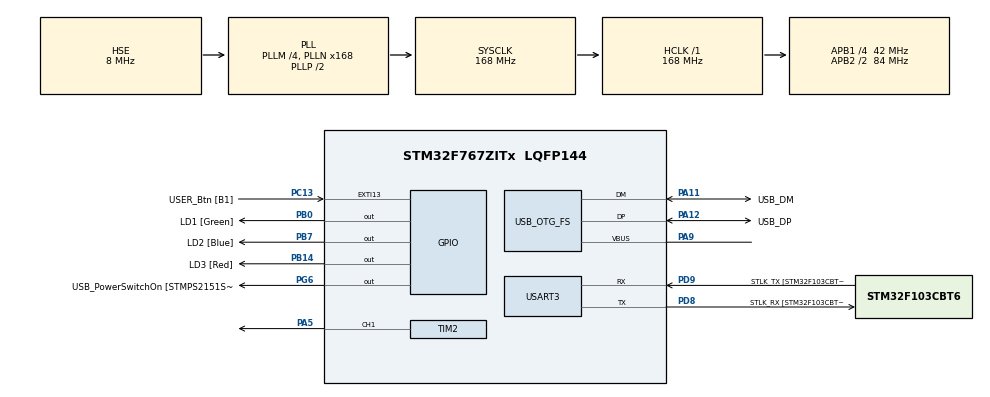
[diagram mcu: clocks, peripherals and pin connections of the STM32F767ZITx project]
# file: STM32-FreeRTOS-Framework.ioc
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Mcu.Family=STM32F7
NVIC.USART3_IRQn=true\:5\:0\:false\:false\:true\:true\:true\:true
RCC.CortexFreq_Value=168000000
PG6.PinState=GPIO_PIN_RESET
PG6.Signal=GPIO_Output
PB14.GPIO_Label=LD3 [Red]
PG6.GPIO_Label=USB_PowerSwitchOn [STMPS2151STR_EN]
PA14.GPIO_Label=TCK
RCC.SYSCLKSourceVirtual=RCC_SYSCLKSOURCE_PLLCLK
VP_RTC_VS_RTC_Activate.Mode=RTC_Enabled
RTC.WeekDay=RTC_WEEKDAY_SATURDAY
PA11.Mode=Host_Only
PB0.GPIO_Label=LD1 [Green]
PC13.GPIO_Label=USER_Btn [B1]
PD9.Mode=Asynchronous
RCC.SYSCLKSource=RCC_SYSCLKSOURCE_PLLCLK
ProjectManager.StackSize=0x800
VP_FREERTOS_VS_CMSIS_V2.Mode=CMSIS_V2
USART3.VirtualMode-Asynchronous=VM_ASYNC
PA12.Signal=USB_OTG_FS_DP
NVIC.TIM5_IRQn=true\:5\:0\:false\:false\:true\:true\:true\:true
PH0/OSC_IN.Mode=HSE-External-Oscillator
RCC.HCLKFreq_Value=168000000
RCC.APB2TimFreq_Value=168000000
PH1/OSC_OUT.Signal=RCC_OSC_OUT
TIM5.TIM_MasterSlaveMode=TIM_MASTERSLAVEMODE_DISABLE
PD8.Signal=USART3_TX
USB_HOST0.BSP.ip=GPIO
FREERTOS.configMINIMAL_STACK_SIZE=256
RCC.AHBFreq_Value=168000000
RCC.HSE_VALUE=8000000
NVIC.TIM8_TRG_COM_TIM14_IRQn=true\:5\:0\:false\:false\:true\:true\:true\:true
USB_OTG_FS.phy_itface=HCD_PHY_EMBEDDED
TIM14.Period=2000 - 1
RCC.PLLMUL=RCC_PLL_MUL9
RTC.Month=RTC_MONTH_MAY
PA14.Mode=Serial_Wire
VP_SYS_VS_tim1.Mode=TIM1
Dma.USART3_TX.0.FIFOMode=DMA_FIFOMODE_DISABLE
PB7.Signal=GPIO_Output
USB_HOST.USBH_PROCESS_STACK_SIZE-MSC_FS=0x800
TIM2.Channel-PWM\ Generation1\ CH1=TIM_CHANNEL_1
Dma.USART3_TX.0.Mode=DMA_NORMAL
PH1/OSC_OUT.Mode=HSE-External-Oscillator
Dma.USART3_TX.0.PeriphInc=DMA_PINC_DISABLE
Dma.USART3_TX.0.MemDataAlignment=DMA_MDATAALIGN_BYTE
PG6.GPIO_ModeDefaultOutputPP=GPIO_MODE_OUTPUT_PP
PB7.GPIO_Label=LD2 [Blue]
USB_HOST0.BSP.i2caddr=0
Mcu.Package=LQFP144
TIM2.Prescaler=2687
NVIC.TimeBase=TIM1_UP_TIM10_IRQn
PC14/OSC32_IN.Signal=RCC_OSC32_IN
NVIC.OTG_FS_IRQn=true\:5\:0\:false\:false\:true\:true\:true\:true
NVIC.TimeBaseIP=TIM1
PA10.Signal=USB_OTG_FS_ID
VP_RTC_VS_RTC_Calendar.Mode=RTC_Calendar
USB_OTG_FS.VirtualMode=Host_Only
TIM2.TIM_MasterOutputTrigger=TIM_TRGO_UPDATE
USB_HOST0.BSP.name=Drive_VBUS_FS
Dma.USART3_TX.0.PeriphDataAlignment=DMA_PDATAALIGN_BYTE
RCC.APB2CLKDivider=RCC_HCLK_DIV2
RCC.APB1TimFreq_Value=84000000
VP_TIM14_VS_ClockSourceINT.Mode=Enable_Timer
Dma.Request0=USART3_TX
VP_TIM5_VS_ClockSourceITR.Mode=TriggerSource_ITR0
PB3.GPIO_Label=SWO
Dma.USART3_TX.0.Instance=DMA1_Stream3
FREERTOS.Tasks01=defaultTask,24,256,StartDefaultTask,Default,NULL,Dynamic,NULL,NULL
PD9.GPIO_Label=STLK_TX [STM32F103CBT6_PA2]
Dma.USART3_TX.0.MemInc=DMA_MINC_ENABLE
PC13.Signal=GPXTI13
VP_USB_HOST_VS_USB_HOST_MSC_FS.Mode=MSC_FS
USB_HOST0.BSP.solution=PG6
USB_HOST.BSP.number=1
PA11.GPIO_Label=USB_DM
PD9.Signal=USART3_RX
RCC.APB1CLKDivider=RCC_HCLK_DIV4
Dma.USART3_TX.0.Direction=DMA_MEMORY_TO_PERIPH
USB_HOST.USBH_HandleTypeDef-MSC_FS=hUsbHostFS
PA12.GPIO_Label=USB_DP
TIM5.AutoReloadPreload=TIM_AUTORELOAD_PRELOAD_ENABLE
TIM2.Pulse-PWM\ Generation1\ CH1=15624
PD8.GPIO_Label=STLK_RX [STM32F103CBT6_PA3]
USB_HOST0.BSP.STBoard=false
PA13.Signal=SYS_JTMS-SWDIO
TIM5.TIM_MasterOutputTrigger=TIM_TRGO_RESET
PA9.Mode=Activate_VBUS
ProjectManager.TargetToolchain=STM32CubeIDE
PA9.Signal=USB_OTG_FS_VBUS
RCC.USBFreq_Value=48000000
RCC.LSE_VALUE=32768
PD8.Mode=Asynchronous
PB14.Signal=GPIO_Output
PA5.Signal=S_TIM2_CH1_ETR
board=NUCLEO-F767ZI
RCC.VCOOutputFreq_Value=336000000
USB_HOST.VirtualModeFS=Msc
PH0/OSC_IN.Signal=RCC_OSC_IN
RCC.APB2Freq_Value=84000000
USB_HOST0.BSP.api=Unknown
RCC.PRESCALERUSB=RCC_USBCLKSOURCE_PLL_DIV1_5
VP_TIM2_VS_ClockSourceINT.Mode=Internal
TIM2.Period=31249
Dma.USART3_TX.0.Priority=DMA_PRIORITY_LOW
PA13.Mode=Serial_Wire
Mcu.Name=STM32F767ZITx
TIM14.Prescaler=9600 - 1
PA13.GPIO_Label=TMS
RCC.48MHZClocksFreq_Value=24000000
PB3.Signal=SYS_JTDO-SWO
RCC.SYSCLKFreq_VALUE=168000000
PA12.Mode=Host_Only
TIM5.Prescaler=0
VP_TIM5_VS_ControllerModeClock.Mode=Clock Mode
PA11.Signal=USB_OTG_FS_DM
SH.S_TIM2_CH1_ETR.0=TIM2_CH1,PWM Generation1 CH1
PA14.Signal=SYS_JTCK-SWCLK
ProjectManager.HeapSize=0x400
VP_FATFS_VS_USB.Mode=USB
NVIC.TIM1_UP_TIM10_IRQn=true\:0\:0\:false\:false\:true\:false\:false\:true
RCC.HSI_VALUE=16000000
PH0/OSC_IN.GPIO_Label=MCO [STM32F103CBT6_PA8]
RCC.PLLQ=7
NVIC.PriorityGroup=NVIC_PRIORITYGROUP_4
RCC.PLLM=4
RCC.PLLN=168
TIM2.TIM_MasterSlaveMode=TIM_MASTERSLAVEMODE_ENABLE
TIM2.AutoReloadPreload=TIM_AUTORELOAD_PRELOAD_ENABLE
NVIC.DMA1_Stream3_IRQn=true\:5\:0\:false\:false\:true\:true\:false\:true
TIM5.Period=4294967295
PC15/OSC32_OUT.Signal=RCC_OSC32_OUT
RCC.APB1Freq_Value=42000000
PB0.Signal=GPIO_Output
USB_HOST0.BSP.mode=Output
USB_HOST0.BSP.instance=PG6

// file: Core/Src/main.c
/* USER CODE BEGIN Header */
/**
  ******************************************************************************
  * @file           : main.c
  * @brief          : Main program body
  ******************************************************************************
  * @attention
  *
  * <h2><center>&copy; Copyright (c) 2021 STMicroelectronics.
  * All rights reserved.</center></h2>
  *
  * This software component is licensed by ST under BSD 3-Clause license,
  * the "License"; You may not use this file except in compliance with the
  * License. You may obtain a copy of the License at:
  *                        opensource.org/licenses/BSD-3-Clause
  *
  ******************************************************************************
  */
/* USER CODE END Header */
#include "main.h"
#include "cmsis_os.h"
#include "fatfs.h"
#include "usb_host.h"

/* USER CODE BEGIN Includes */

#include "UserInc/Logging.h"
#include "UserInc/Features.h"

#include "UserInc/Tasks/TaskConsole.h"
#include "UserInc/Tasks/TaskUSB.h"
#include "UserInc/Tasks/Task1.h"
#include "UserInc/Tasks/Task2.h"
#include "UserInc/Tasks/Task3.h"

#if ( ENABLE_ADC == 1 )
#include "UserInc/Tasks/TaskADC.h"
#endif

#if ( ENABLE_PWM == 1 )
#include "UserInc/Tasks/TaskPWM.h"
#endif

/* USER CODE END Includes */

RTC_HandleTypeDef hrtc;

TIM_HandleTypeDef htim2;
TIM_HandleTypeDef htim5;
TIM_HandleTypeDef htim14;

UART_HandleTypeDef huart3;
DMA_HandleTypeDef hdma_usart3_tx;

/* Definitions for defaultTask */
osThreadId_t defaultTaskHandle;
const osThreadAttr_t defaultTask_attributes = {
  .name = "defaultTask",
  .stack_size = 256 * 4,
  .priority = (osPriority_t) osPriorityNormal,
};
/* USER CODE BEGIN PV */

osThreadId_t taskConsoleHandle;
const osThreadAttr_t taskConsole_attributes = {
  .name = "taskConsole",
  .stack_size = configMINIMAL_STACK_SIZE * 4,
  .priority = (osPriority_t) osPriorityNormal,
};

#if ( ENABLE_USB == 1 )
osThreadId_t taskUSBHandle;
const osThreadAttr_t taskUSB_attributes = {
  .name = "taskUSB",
  .stack_size = configMINIMAL_STACK_SIZE * 4,
  .priority = (osPriority_t) osPriorityNormal,
};
#endif

osThreadId_t task1Handle;
const osThreadAttr_t task1_attributes = {
  .name = "task1",
  .stack_size = configMINIMAL_STACK_SIZE * 4,
  .priority = (osPriority_t) osPriorityNormal,
};

osThreadId_t task3Handle;
const osThreadAttr_t task3_attributes = {
  .name = "task3",
  .stack_size = configMINIMAL_STACK_SIZE * 4,
  .priority = (osPriority_t) osPriorityNormal,
};

#if ( ENABLE_ADC == 1 )
osThreadId_t taskADCHandle;
const osThreadAttr_t taskADC_attributes = {
  .name = "taskADC",
  .stack_size = configTIMER_TASK_STACK_DEPTH * 4,
  .priority = (osPriority_t) osPriorityNormal,
};
#endif

#if ( ENABLE_PWM == 1 )
osThreadId_t taskPWMHandle;
const osThreadAttr_t taskPWM_attributes = {
  .name = "taskPWM",
  .stack_size = configTIMER_TASK_STACK_DEPTH * 4,
  .priority = (osPriority_t) osPriorityNormal,
};
#endif

/* USER CODE END PV */

void SystemClock_Config(void);
static void MX_GPIO_Init(void);
static void MX_DMA_Init(void);
static void MX_USART3_UART_Init(void);
static void MX_TIM14_Init(void);
static void MX_RTC_Init(void);
static void MX_TIM5_Init(void);
static void MX_TIM2_Init(void);
void StartDefaultTask(void *argument);

int main(void)
{

  /* MCU Configuration--------------------------------------------------------*/

  /* Reset of all peripherals, Initializes the Flash interface and the Systick. */
  HAL_Init();

  /* Configure the system clock */
  SystemClock_Config();

  /* Initialize all configured peripherals */
  MX_GPIO_Init();
  MX_DMA_Init();
  MX_USART3_UART_Init();
  MX_TIM14_Init();
  MX_RTC_Init();
  MX_FATFS_Init();
  MX_TIM5_Init();
  MX_TIM2_Init();
  /* USER CODE BEGIN 2 */

  HAL_TIM_Base_Start_IT(&htim14);
  HAL_TIM_Base_Start(&htim5);
#ifdef PWM_LOG_TIM2
  HAL_TIM_PWM_Start_IT(&htim2, TIM_CHANNEL_1);
#else
  HAL_TIM_PWM_Start(&htim2, TIM_CHANNEL_1);
#endif

  /* USER CODE END 2 */

  /* Init scheduler */
  osKernelInitialize();

  /* USER CODE BEGIN RTOS_SEMAPHORES */
  TaskConsole_PrepareRTOS();
  TaskUSB_PrepareRTOS();
  /* USER CODE END RTOS_SEMAPHORES */

  /* Create the thread(s) */
  /* creation of defaultTask */
  defaultTaskHandle = osThreadNew(StartDefaultTask, NULL, &defaultTask_attributes);

  /* USER CODE BEGIN RTOS_THREADS */
  taskConsoleHandle	= osThreadNew(TaskConsole_Run,	NULL, &taskConsole_attributes);
#if ( ENABLE_USB == 1 )
  taskUSBHandle		= osThreadNew(TaskUSB_Run,		NULL, &taskUSB_attributes);
#endif
  task1Handle		= osThreadNew(Task1_Run,		NULL, &task1_attributes);
  task3Handle		= osThreadNew(Task3_Run,		NULL, &task3_attributes);
#if ( ENABLE_ADC == 1 )
  taskADCHandle		= osThreadNew(TaskADC_Run,		NULL, &taskADC_attributes);
#endif
#if ( ENABLE_PWM == 1 )
  taskPWMHandle		= osThreadNew(TaskPWM_Run,		NULL, &taskPWM_attributes);
#endif

  /* USER CODE END RTOS_THREADS */

  /* Start scheduler */
  osKernelStart();

  /* We should never get here as control is now taken by the scheduler */
  /* Infinite loop */
  while (1)
  {

    /* USER CODE BEGIN 3 */
	HAL_Delay(1000);
  }
  /* USER CODE END 3 */
}

void SystemClock_Config(void)
{
  RCC_OscInitTypeDef RCC_OscInitStruct = {0};
  RCC_ClkInitTypeDef RCC_ClkInitStruct = {0};
  RCC_PeriphCLKInitTypeDef PeriphClkInitStruct = {0};

  /** Configure the main internal regulator output voltage
  */
  __HAL_RCC_PWR_CLK_ENABLE();
  __HAL_PWR_VOLTAGESCALING_CONFIG(PWR_REGULATOR_VOLTAGE_SCALE2);
  /** Initializes the RCC Oscillators according to the specified parameters
  * in the RCC_OscInitTypeDef structure.
  */
  RCC_OscInitStruct.OscillatorType = RCC_OSCILLATORTYPE_LSI|RCC_OSCILLATORTYPE_HSE;
  RCC_OscInitStruct.HSEState = RCC_HSE_ON;
  RCC_OscInitStruct.LSIState = RCC_LSI_ON;
  RCC_OscInitStruct.PLL.PLLState = RCC_PLL_ON;
  RCC_OscInitStruct.PLL.PLLSource = RCC_PLLSOURCE_HSE;
  RCC_OscInitStruct.PLL.PLLM = 4;
  RCC_OscInitStruct.PLL.PLLN = 168;
  RCC_OscInitStruct.PLL.PLLP = RCC_PLLP_DIV2;
  RCC_OscInitStruct.PLL.PLLQ = 7;
  if (HAL_RCC_OscConfig(&RCC_OscInitStruct) != HAL_OK)
  {
    Error_Handler();
  }
  /** Initializes the CPU, AHB and APB buses clocks
  */
  RCC_ClkInitStruct.ClockType = RCC_CLOCKTYPE_HCLK|RCC_CLOCKTYPE_SYSCLK
                              |RCC_CLOCKTYPE_PCLK1|RCC_CLOCKTYPE_PCLK2;
  RCC_ClkInitStruct.SYSCLKSource = RCC_SYSCLKSOURCE_PLLCLK;
  RCC_ClkInitStruct.AHBCLKDivider = RCC_SYSCLK_DIV1;
  RCC_ClkInitStruct.APB1CLKDivider = RCC_HCLK_DIV4;
  RCC_ClkInitStruct.APB2CLKDivider = RCC_HCLK_DIV2;

  if (HAL_RCC_ClockConfig(&RCC_ClkInitStruct, FLASH_LATENCY_5) != HAL_OK)
  {
    Error_Handler();
  }
  PeriphClkInitStruct.PeriphClockSelection = RCC_PERIPHCLK_RTC|RCC_PERIPHCLK_USART3
                              |RCC_PERIPHCLK_CLK48;
  PeriphClkInitStruct.RTCClockSelection = RCC_RTCCLKSOURCE_LSI;
  PeriphClkInitStruct.Usart3ClockSelection = RCC_USART3CLKSOURCE_PCLK1;
  PeriphClkInitStruct.Clk48ClockSelection = RCC_CLK48SOURCE_PLL;
  if (HAL_RCCEx_PeriphCLKConfig(&PeriphClkInitStruct) != HAL_OK)
  {
    Error_Handler();
  }
}

static void MX_RTC_Init(void)
{

  RTC_TimeTypeDef sTime = {0};
  RTC_DateTypeDef sDate = {0};

  /** Initialize RTC Only
  */
  hrtc.Instance = RTC;
  hrtc.Init.HourFormat = RTC_HOURFORMAT_24;
  hrtc.Init.AsynchPrediv = 127;
  hrtc.Init.SynchPrediv = 255;
  hrtc.Init.OutPut = RTC_OUTPUT_DISABLE;
  hrtc.Init.OutPutPolarity = RTC_OUTPUT_POLARITY_HIGH;
  hrtc.Init.OutPutType = RTC_OUTPUT_TYPE_OPENDRAIN;
  if (HAL_RTC_Init(&hrtc) != HAL_OK)
  {
    Error_Handler();
  }

  /** Initialize RTC and set the Time and Date
  */
  sTime.Hours = 0x0;
  sTime.Minutes = 0x0;
  sTime.Seconds = 0x0;
  sTime.DayLightSaving = RTC_DAYLIGHTSAVING_NONE;
  sTime.StoreOperation = RTC_STOREOPERATION_RESET;
  if (HAL_RTC_SetTime(&hrtc, &sTime, RTC_FORMAT_BCD) != HAL_OK)
  {
    Error_Handler();
  }
  sDate.WeekDay = RTC_WEEKDAY_SATURDAY;
  sDate.Month = RTC_MONTH_MAY;
  sDate.Date = 0x1;
  sDate.Year = 0x0;

  if (HAL_RTC_SetDate(&hrtc, &sDate, RTC_FORMAT_BCD) != HAL_OK)
  {
    Error_Handler();
  }

}

static void MX_TIM2_Init(void)
{

  TIM_ClockConfigTypeDef sClockSourceConfig = {0};
  TIM_MasterConfigTypeDef sMasterConfig = {0};
  TIM_OC_InitTypeDef sConfigOC = {0};

  htim2.Instance = TIM2;
  htim2.Init.Prescaler = 2687;
  htim2.Init.CounterMode = TIM_COUNTERMODE_UP;
  htim2.Init.Period = 31249;
  htim2.Init.ClockDivision = TIM_CLOCKDIVISION_DIV1;
  htim2.Init.AutoReloadPreload = TIM_AUTORELOAD_PRELOAD_ENABLE;
  if (HAL_TIM_Base_Init(&htim2) != HAL_OK)
  {
    Error_Handler();
  }
  sClockSourceConfig.ClockSource = TIM_CLOCKSOURCE_INTERNAL;
  if (HAL_TIM_ConfigClockSource(&htim2, &sClockSourceConfig) != HAL_OK)
  {
    Error_Handler();
  }
  if (HAL_TIM_PWM_Init(&htim2) != HAL_OK)
  {
    Error_Handler();
  }
  sMasterConfig.MasterOutputTrigger = TIM_TRGO_UPDATE;
  sMasterConfig.MasterSlaveMode = TIM_MASTERSLAVEMODE_ENABLE;
  if (HAL_TIMEx_MasterConfigSynchronization(&htim2, &sMasterConfig) != HAL_OK)
  {
    Error_Handler();
  }
  sConfigOC.OCMode = TIM_OCMODE_PWM1;
  sConfigOC.Pulse = 15624;
  sConfigOC.OCPolarity = TIM_OCPOLARITY_HIGH;
  sConfigOC.OCFastMode = TIM_OCFAST_DISABLE;
  if (HAL_TIM_PWM_ConfigChannel(&htim2, &sConfigOC, TIM_CHANNEL_1) != HAL_OK)
  {
    Error_Handler();
  }
  HAL_TIM_MspPostInit(&htim2);

}

static void MX_TIM5_Init(void)
{

  TIM_SlaveConfigTypeDef sSlaveConfig = {0};
  TIM_MasterConfigTypeDef sMasterConfig = {0};

  htim5.Instance = TIM5;
  htim5.Init.Prescaler = 0;
  htim5.Init.CounterMode = TIM_COUNTERMODE_UP;
  htim5.Init.Period = 4294967295;
  htim5.Init.ClockDivision = TIM_CLOCKDIVISION_DIV1;
  htim5.Init.AutoReloadPreload = TIM_AUTORELOAD_PRELOAD_ENABLE;
  if (HAL_TIM_Base_Init(&htim5) != HAL_OK)
  {
    Error_Handler();
  }
  sSlaveConfig.SlaveMode = TIM_SLAVEMODE_EXTERNAL1;
  sSlaveConfig.InputTrigger = TIM_TS_ITR0;
  if (HAL_TIM_SlaveConfigSynchro(&htim5, &sSlaveConfig) != HAL_OK)
  {
    Error_Handler();
  }
  sMasterConfig.MasterOutputTrigger = TIM_TRGO_RESET;
  sMasterConfig.MasterSlaveMode = TIM_MASTERSLAVEMODE_DISABLE;
  if (HAL_TIMEx_MasterConfigSynchronization(&htim5, &sMasterConfig) != HAL_OK)
  {
    Error_Handler();
  }

}

static void MX_TIM14_Init(void)
{

  htim14.Instance = TIM14;
  htim14.Init.Prescaler = 9600 - 1;
  htim14.Init.CounterMode = TIM_COUNTERMODE_UP;
  htim14.Init.Period = 2000 - 1;
  htim14.Init.ClockDivision = TIM_CLOCKDIVISION_DIV1;
  htim14.Init.AutoReloadPreload = TIM_AUTORELOAD_PRELOAD_DISABLE;
  if (HAL_TIM_Base_Init(&htim14) != HAL_OK)
  {
    Error_Handler();
  }

}

static void MX_USART3_UART_Init(void)
{

  huart3.Instance = USART3;
  huart3.Init.BaudRate = 115200;
  huart3.Init.WordLength = UART_WORDLENGTH_8B;
  huart3.Init.StopBits = UART_STOPBITS_1;
  huart3.Init.Parity = UART_PARITY_NONE;
  huart3.Init.Mode = UART_MODE_TX_RX;
  huart3.Init.HwFlowCtl = UART_HWCONTROL_NONE;
  huart3.Init.OverSampling = UART_OVERSAMPLING_16;
  huart3.Init.OneBitSampling = UART_ONE_BIT_SAMPLE_DISABLE;
  huart3.AdvancedInit.AdvFeatureInit = UART_ADVFEATURE_NO_INIT;
  if (HAL_UART_Init(&huart3) != HAL_OK)
  {
    Error_Handler();
  }

}

static void MX_DMA_Init(void)
{

  /* DMA controller clock enable */
  __HAL_RCC_DMA1_CLK_ENABLE();

  /* DMA interrupt init */
  /* DMA1_Stream3_IRQn interrupt configuration */
  HAL_NVIC_SetPriority(DMA1_Stream3_IRQn, 5, 0);
  HAL_NVIC_EnableIRQ(DMA1_Stream3_IRQn);

}

static void MX_GPIO_Init(void)
{
  GPIO_InitTypeDef GPIO_InitStruct = {0};

  /* GPIO Ports Clock Enable */
  __HAL_RCC_GPIOC_CLK_ENABLE();
  __HAL_RCC_GPIOH_CLK_ENABLE();
  __HAL_RCC_GPIOA_CLK_ENABLE();
  __HAL_RCC_GPIOB_CLK_ENABLE();
  __HAL_RCC_GPIOD_CLK_ENABLE();
  __HAL_RCC_GPIOG_CLK_ENABLE();

  /*Configure GPIO pin Output Level */
  HAL_GPIO_WritePin(GPIOB, LD1_Pin|LD3_Pin|LD2_Pin, GPIO_PIN_RESET);

  /*Configure GPIO pin Output Level */
  HAL_GPIO_WritePin(USB_PowerSwitchOn_GPIO_Port, USB_PowerSwitchOn_Pin, GPIO_PIN_RESET);

  /*Configure GPIO pin : USER_Btn_Pin */
  GPIO_InitStruct.Pin = USER_Btn_Pin;
  GPIO_InitStruct.Mode = GPIO_MODE_IT_RISING;
  GPIO_InitStruct.Pull = GPIO_NOPULL;
  HAL_GPIO_Init(USER_Btn_GPIO_Port, &GPIO_InitStruct);

  /*Configure GPIO pins : LD1_Pin LD3_Pin LD2_Pin */
  GPIO_InitStruct.Pin = LD1_Pin|LD3_Pin|LD2_Pin;
  GPIO_InitStruct.Mode = GPIO_MODE_OUTPUT_PP;
  GPIO_InitStruct.Pull = GPIO_NOPULL;
  GPIO_InitStruct.Speed = GPIO_SPEED_FREQ_LOW;
  HAL_GPIO_Init(GPIOB, &GPIO_InitStruct);

  /*Configure GPIO pin : USB_PowerSwitchOn_Pin */
  GPIO_InitStruct.Pin = USB_PowerSwitchOn_Pin;
  GPIO_InitStruct.Mode = GPIO_MODE_OUTPUT_PP;
  GPIO_InitStruct.Pull = GPIO_NOPULL;
  GPIO_InitStruct.Speed = GPIO_SPEED_FREQ_LOW;
  HAL_GPIO_Init(USB_PowerSwitchOn_GPIO_Port, &GPIO_InitStruct);

}

void StartDefaultTask(void *argument)
{
  /* init code for USB_HOST */
  MX_USB_HOST_Init();
  for(;;)
  {
    osDelay(1);
  }
}

 /**
  * @brief  Period elapsed callback in non blocking mode
  * @note   This function is called  when TIM1 interrupt took place, inside
  * HAL_TIM_IRQHandler(). It makes a direct call to HAL_IncTick() to increment
  * a global variable "uwTick" used as application time base.
  * @param  htim : TIM handle
  * @retval None
  */
void HAL_TIM_PeriodElapsedCallback(TIM_HandleTypeDef *htim)
{
  if (htim->Instance == TIM1) {
    HAL_IncTick();
  }
  /* USER CODE BEGIN Callback 1 */
  else if (htim->Instance == TIM5) {
	// TaskPWM_Interrupt(htim);
  }
  else if (htim->Instance == TIM14) {
    Task2_Interrupt();
  }
  /* USER CODE END Callback 1 */
}

void Error_Handler(void)
{
  __disable_irq();
  while (1)
  {
  }
}

/************************ (C) COPYRIGHT STMicroelectronics *****END OF FILE****/

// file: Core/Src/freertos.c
/* USER CODE BEGIN Header */
/**
  ******************************************************************************
  * File Name          : freertos.c
  * Description        : Code for freertos applications
  ******************************************************************************
  * @attention
  *
  * <h2><center>&copy; Copyright (c) 2021 STMicroelectronics.
  * All rights reserved.</center></h2>
  *
  * This software component is licensed by ST under Ultimate Liberty license
  * SLA0044, the "License"; You may not use this file except in compliance with
  * the License. You may obtain a copy of the License at:
  *                             www.st.com/SLA0044
  *
  ******************************************************************************
  */
/* USER CODE END Header */

#include "FreeRTOS.h"
#include "task.h"

/* GetIdleTaskMemory prototype (linked to static allocation support) */
void vApplicationGetIdleTaskMemory( StaticTask_t **ppxIdleTaskTCBBuffer, StackType_t **ppxIdleTaskStackBuffer, uint32_t *pulIdleTaskStackSize );

/* USER CODE BEGIN GET_IDLE_TASK_MEMORY */
static StaticTask_t xIdleTaskTCBBuffer;
static StackType_t xIdleStack[configMINIMAL_STACK_SIZE];

void vApplicationGetIdleTaskMemory( StaticTask_t **ppxIdleTaskTCBBuffer, StackType_t **ppxIdleTaskStackBuffer, uint32_t *pulIdleTaskStackSize )
{
  *ppxIdleTaskTCBBuffer = &xIdleTaskTCBBuffer;
  *ppxIdleTaskStackBuffer = &xIdleStack[0];
  *pulIdleTaskStackSize = configMINIMAL_STACK_SIZE;
  /* place for user code */
}
/* USER CODE END GET_IDLE_TASK_MEMORY */

/************************ (C) COPYRIGHT STMicroelectronics *****END OF FILE****/
